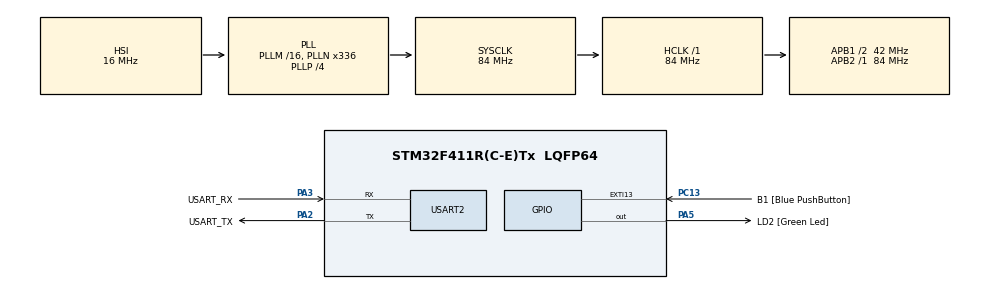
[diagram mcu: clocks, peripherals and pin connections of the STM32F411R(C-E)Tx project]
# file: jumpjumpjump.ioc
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Mcu.Family=STM32F4
Mcu.Name=STM32F411R(C-E)Tx
Mcu.Package=LQFP64
NVIC.PriorityGroup=NVIC_PRIORITYGROUP_1
NVIC.USART2_IRQn=true\:1\:0\:true\:false\:true\:true\:true
PA13.GPIO_Label=TMS
PA13.Mode=Serial_Wire
PA13.Signal=SYS_JTMS-SWDIO
PA14.GPIO_Label=TCK
PA14.Mode=Serial_Wire
PA14.Signal=SYS_JTCK-SWCLK
PA2.GPIO_Label=USART_TX
PA2.Mode=Asynchronous
PA2.Signal=USART2_TX
PA3.GPIO_Label=USART_RX
PA3.Mode=Asynchronous
PA3.Signal=USART2_RX
PA5.GPIO_Label=LD2 [Green Led]
PA5.Signal=GPIO_Output
PB3.GPIO_Label=SWO
PB3.Signal=SYS_JTDO-SWO
PC13-ANTI_TAMP.GPIO_Label=B1 [Blue PushButton]
PC13-ANTI_TAMP.GPIO_ModeDefaultEXTI=GPIO_MODE_IT_FALLING
PC13-ANTI_TAMP.Signal=GPXTI13
PC14-OSC32_IN.Mode=LSE-External-Oscillator
PC14-OSC32_IN.Signal=RCC_OSC32_IN
PC15-OSC32_OUT.Mode=LSE-External-Oscillator
PC15-OSC32_OUT.Signal=RCC_OSC32_OUT
PH0\ -\ OSC_IN.Mode=HSE-External-Clock-Source
PH0\ -\ OSC_IN.Signal=RCC_OSC_IN
PH1\ -\ OSC_OUT.Mode=HSE-External-Clock-Source
PH1\ -\ OSC_OUT.Signal=RCC_OSC_OUT
ProjectManager.HeapSize=0x200
ProjectManager.StackSize=0x400
ProjectManager.TargetToolchain=STM32CubeIDE
RCC.48MHZClocksFreq_Value=84000000
RCC.AHBFreq_Value=84000000
RCC.APB1CLKDivider=RCC_HCLK_DIV2
RCC.APB1Freq_Value=42000000
RCC.APB1TimFreq_Value=84000000
RCC.APB2Freq_Value=84000000
RCC.APB2TimFreq_Value=84000000
RCC.CortexFreq_Value=84000000
RCC.FLatency-AdvancedSettings=FLASH_LATENCY_2
RCC.HCLKFreq_Value=84000000
RCC.HSE_VALUE=8000000
RCC.HSI_VALUE=16000000
RCC.PLLN=336
RCC.PLLP=RCC_PLLP_DIV4
RCC.SYSCLKFreq_VALUE=84000000
RCC.SYSCLKSource=RCC_SYSCLKSOURCE_PLLCLK
RCC.VCOOutputFreq_Value=336000000
USART2.VirtualMode=VM_ASYNC
board=NUCLEO-F411RE

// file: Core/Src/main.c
/* USER CODE BEGIN Header */
/**
 ******************************************************************************
 * @file           : main.c
 * @brief          : Main program body
 ******************************************************************************
 * @attention
 *
 * <h2><center>&copy; Copyright (c) 2020 STMicroelectronics.
 * All rights reserved.</center></h2>
 *
 * This software component is licensed by ST under BSD 3-Clause license,
 * the "License"; You may not use this file except in compliance with the
 * License. You may obtain a copy of the License at:
 *                        opensource.org/licenses/BSD-3-Clause
 *
 ******************************************************************************
 */
/* USER CODE END Header */

#include "main.h"

UART_HandleTypeDef huart2;

/* USER CODE BEGIN PV */
char buffer;
int jump = 0;
int play = 0;
int gameover = 0;
int score = 0;
char charScore[];
int startscene = 1;
int speed;
int x20[3];
int x21[5];
int x22[7];
int x23[9];
int x24[11];

/* USER CODE END PV */

void SystemClock_Config(void);
static void MX_GPIO_Init(void);
static void MX_USART2_UART_Init(void);

/* USER CODE BEGIN 0 */
void resetPos() {
	x20[0] = 72;
	x20[1] = 73;
	x20[2] = 74;
	x21[0] = 71;
	x21[1] = 72;
	x21[2] = 73;
	x21[3] = 74;
	x21[4] = 75;
	x22[0] = 70;
	x22[1] = 71;
	x22[2] = 72;
	x22[3] = 73;
	x22[4] = 74;
	x22[5] = 75;
	x22[6] = 76;
	x23[0] = 69;
	x23[1] = 70;
	x23[2] = 71;
	x23[3] = 72;
	x23[4] = 73;
	x23[5] = 74;
	x23[6] = 75;
	x23[7] = 76;
	x23[8] = 77;
	x24[0] = 68;
	x24[1] = 69;
	x24[2] = 70;
	x24[3] = 71;
	x24[4] = 72;
	x24[5] = 73;
	x24[6] = 74;
	x24[7] = 75;
	x24[8] = 76;
	x24[9] = 77;
	x24[10] = 78;
}
void clear() {
	char clear[] = { 27, '[', 2, 'J', 27, '[', 'H' };
	HAL_UART_Transmit(&huart2, clear, sizeof(clear), HAL_MAX_DELAY);
}
void HAL_UART_TxCpltCallback(UART_HandleTypeDef *huart) {
}

void HAL_UART_RxCpltCallback(UART_HandleTypeDef *huart) {
	HAL_Delay(100);
	if (startscene && buffer == 'p') {
		jump = 0;
		play = 1;
		score = 0;
		gameover = 0;
		startscene = 0;
		resetPos();
	} else if (play && !gameover && buffer == ' ') {
		jump = 1;
	} else if (gameover && buffer == 'y') {
		gameover = 0;
		score = 0;
		play = 1;
		resetPos();
	} else if (gameover && buffer == 'n') {
		startscene = 1;
	} else if (!gameover && play && buffer == 'p') {
		play = 0;
	} else if (!gameover && play == 0 && buffer == 'p') {
		play = 1;
	}
	HAL_UART_Receive_IT(&huart2, &buffer, 1);
}
/* USER CODE END 0 */

int main(void) {

	/* MCU Configuration--------------------------------------------------------*/

	/* Reset of all peripherals, Initializes the Flash interface and the Systick. */
	HAL_Init();

	/* Configure the system clock */
	SystemClock_Config();

	/* Initialize all configured peripherals */
	MX_GPIO_Init();
	MX_USART2_UART_Init();
	/* USER CODE BEGIN 2 */
	HAL_UART_Receive_IT(&huart2, &buffer, 1);

	void rock() {
		speed = score + 10;
		if (speed > 15)
			speed = 15;
		for (int i = 0; i < 3; i++) {
			x20[i] -= speed;
			if (x20[i] <= 0)
				x20[i] += 78;
		}
		for (int i = 0; i < 5; i++) {
			x21[i] -= speed;
			if (x21[i] <= 0)
				x21[i] += 78;
		}
		for (int i = 0; i < 7; i++) {
			x22[i] -= speed;
			if (x22[i] <= 0)
				x22[i] += 78;
		}
		for (int i = 0; i < 9; i++) {
			x23[i] -= speed;
			if (x23[i] <= 0)
				x23[i] += 78;
		}
		for (int i = 0; i < 11; i++) {
			x24[i] -= speed;
			if (x24[i] <= 0) {
				x24[i] += 78;
			}

		}
	}
	void startScene() {
		for (int i = 0; i < 25; i++) {
			for (int j = 0; j < 80; j++) {
				if (i == 6 || i == 8) {
					if (j == 0)
						HAL_UART_Transmit(&huart2,
								"+                              ##################                              +",
								80, HAL_MAX_DELAY);
				} else if (i == 7) {
					if (j == 0)
						HAL_UART_Transmit(&huart2,
								"+                              # JUMP JUMP JUMP #                              +",
								80, HAL_MAX_DELAY);
				} else if (i == 9) {
					if (j == 0)
						HAL_UART_Transmit(&huart2,
								"+                          Press 'P' to Play or Pause                          +",
								80, HAL_MAX_DELAY);
				} else if (i == 10) {
					if (j == 0)
						HAL_UART_Transmit(&huart2,
								"+                           Press Space Bar to Jump!                           +",
								80, HAL_MAX_DELAY);
				} else if (j == 0 || j == 79 || i == 0 || i == 24)
					HAL_UART_Transmit(&huart2, "+", 1, HAL_MAX_DELAY);
				else
					HAL_UART_Transmit(&huart2, " ", 1, HAL_MAX_DELAY);
			}
		}
	}

	void gameOver() {
		for (int i = 0; i < 25; i++) {
			for (int j = 0; j < 80; j++) {
				if (i == 6 || i == 8) {
					if (j == 0)
						HAL_UART_Transmit(&huart2,
								"+                                xxxxxxxxxxxxxx                                +",
								80, HAL_MAX_DELAY);
				} else if (i == 7) {
					if (j == 0)
						HAL_UART_Transmit(&huart2,
								"+                                x GAME  OVER x                                +",
								80, HAL_MAX_DELAY);
				} else if (i == 9) {
					if (j == 0) {
						HAL_UART_Transmit(&huart2,
								"+                                   SCORE: ",
								43,
								HAL_MAX_DELAY);
						sprintf(charScore, "%d", score);
						HAL_UART_Transmit(&huart2, (uint8_t*) charScore,
								strlen(charScore), HAL_MAX_DELAY);
						int x;
						if (score < 10)
							x = 1;
						else if (score < 100)
							x = 2;
						else
							x = 3;
						for (int k = 0; k <= (35 - x); k++) {
							HAL_UART_Transmit(&huart2, " ", 1, HAL_MAX_DELAY);
						}
						HAL_UART_Transmit(&huart2, "+", 1, HAL_MAX_DELAY);
					}
				} else if (i == 10) {
					if (j == 0)
						HAL_UART_Transmit(&huart2,
								"+                               PLAY AGAIN? (y/n)                              +",
								80, HAL_MAX_DELAY);
				} else if (j == 0 || j == 79 || i == 0 || i == 24)
					HAL_UART_Transmit(&huart2, "+", 1, HAL_MAX_DELAY);
				else
					HAL_UART_Transmit(&huart2, " ", 1, HAL_MAX_DELAY);
			}
		}
	}

	void screen(int y1, int y2, int y3) {
		for (int i = 0; i < 24; i++) {
			for (int j = 0; j < 80; j++) {
				if (j == 0 || j == 79 || i == 0 || i == 23) {
					HAL_UART_Transmit(&huart2, "+", 1, HAL_MAX_DELAY);
				} else if ((i == 19
						&& (j == x20[0] || j == x20[1] || j == x20[2]))
						|| (i == 21
								&& (j == x21[0] || j == x21[1] || j == x21[2]
										|| j == x21[3] || j == x21[4]))
						|| (i == 20
								&& (j == x22[0] || j == x22[1] || j == x22[2]
										|| j == x22[3] || j == x22[4]
										|| j == x22[5] || j == x22[6]))
						|| (i == 21
								&& (j == x23[0] || j == x23[1] || j == x23[2]
										|| j == x23[3] || j == x23[4]
										|| j == x23[5] || j == x23[6]
										|| j == x23[7] || j == x23[8]))
						|| (i == 22
								&& (j == x24[0] || j == x24[1] || j == x24[2]
										|| j == x24[3] || j == x24[4]
										|| j == x24[5] || j == x24[6]
										|| j == x24[7] || j == x24[8]
										|| j == x24[9] || j == x24[10]))) {
					HAL_UART_Transmit(&huart2, " ", 1, HAL_MAX_DELAY);
				} else if ((i == y1 && (j == 4 || j == 7))
						|| (i == y2 && (j == 3 || j == 5 || j == 6 || j == 8))
						|| (i == y3 && (j >= 3 && j <= 8))) {
					HAL_UART_Transmit(&huart2, " ", 1, HAL_MAX_DELAY);
				} else
					HAL_UART_Transmit(&huart2, ".", 1, HAL_MAX_DELAY);

				if (jump == 0 && i == 22 && (x24[10] >= 3 && x24[10] <= 18)) {
					gameover = 1;
				}
			}
		}
		HAL_UART_Transmit(&huart2, "score:", 6, HAL_MAX_DELAY);
		sprintf(charScore, "%d", score);
		HAL_UART_Transmit(&huart2, (uint8_t*) charScore, strlen(charScore),
		HAL_MAX_DELAY);
	}
	/* USER CODE END 2 */

	/* Infinite loop */
	/* USER CODE BEGIN WHILE */
	int cnt = 0;
	clear();
	while (1) {
		if (startscene) {
			startScene();
			clear();
		} else if (!gameover && play) {
			int y1, y2, y3;
			if (jump) {
				y1 = 13;
				y2 = 14;
				y3 = 15;
				cnt++;
			} else {
				y1 = 20;
				y2 = 21;
				y3 = 22;
			}
			rock();
			screen(y1, y2, y3);
			clear();
			if (cnt == 2) {
				cnt = 0;
				jump = 0;
				score += 1;
			}
		} else if (gameover) {
			gameOver();
			clear();
		}
		/* USER CODE END WHILE */

	}
}

void SystemClock_Config(void) {
	RCC_OscInitTypeDef RCC_OscInitStruct = { 0 };
	RCC_ClkInitTypeDef RCC_ClkInitStruct = { 0 };

	/** Configure the main internal regulator output voltage
	 */
	__HAL_RCC_PWR_CLK_ENABLE();
	__HAL_PWR_VOLTAGESCALING_CONFIG(PWR_REGULATOR_VOLTAGE_SCALE1);
	/** Initializes the CPU, AHB and APB busses clocks
	 */
	RCC_OscInitStruct.OscillatorType = RCC_OSCILLATORTYPE_HSI;
	RCC_OscInitStruct.HSIState = RCC_HSI_ON;
	RCC_OscInitStruct.HSICalibrationValue = RCC_HSICALIBRATION_DEFAULT;
	RCC_OscInitStruct.PLL.PLLState = RCC_PLL_ON;
	RCC_OscInitStruct.PLL.PLLSource = RCC_PLLSOURCE_HSI;
	RCC_OscInitStruct.PLL.PLLM = 16;
	RCC_OscInitStruct.PLL.PLLN = 336;
	RCC_OscInitStruct.PLL.PLLP = RCC_PLLP_DIV4;
	RCC_OscInitStruct.PLL.PLLQ = 4;
	if (HAL_RCC_OscConfig(&RCC_OscInitStruct) != HAL_OK) {
		Error_Handler();
	}
	/** Initializes the CPU, AHB and APB busses clocks
	 */
	RCC_ClkInitStruct.ClockType = RCC_CLOCKTYPE_HCLK | RCC_CLOCKTYPE_SYSCLK
			| RCC_CLOCKTYPE_PCLK1 | RCC_CLOCKTYPE_PCLK2;
	RCC_ClkInitStruct.SYSCLKSource = RCC_SYSCLKSOURCE_PLLCLK;
	RCC_ClkInitStruct.AHBCLKDivider = RCC_SYSCLK_DIV1;
	RCC_ClkInitStruct.APB1CLKDivider = RCC_HCLK_DIV2;
	RCC_ClkInitStruct.APB2CLKDivider = RCC_HCLK_DIV1;

	if (HAL_RCC_ClockConfig(&RCC_ClkInitStruct, FLASH_LATENCY_2) != HAL_OK) {
		Error_Handler();
	}
}

static void MX_USART2_UART_Init(void) {

	huart2.Instance = USART2;
	huart2.Init.BaudRate = 115200;
	huart2.Init.WordLength = UART_WORDLENGTH_8B;
	huart2.Init.StopBits = UART_STOPBITS_1;
	huart2.Init.Parity = UART_PARITY_NONE;
	huart2.Init.Mode = UART_MODE_TX_RX;
	huart2.Init.HwFlowCtl = UART_HWCONTROL_NONE;
	huart2.Init.OverSampling = UART_OVERSAMPLING_16;
	if (HAL_UART_Init(&huart2) != HAL_OK) {
		Error_Handler();
	}

}

static void MX_GPIO_Init(void) {
	GPIO_InitTypeDef GPIO_InitStruct = { 0 };

	/* GPIO Ports Clock Enable */
	__HAL_RCC_GPIOC_CLK_ENABLE();
	__HAL_RCC_GPIOH_CLK_ENABLE();
	__HAL_RCC_GPIOA_CLK_ENABLE();
	__HAL_RCC_GPIOB_CLK_ENABLE();

	/*Configure GPIO pin Output Level */
	HAL_GPIO_WritePin(LD2_GPIO_Port, LD2_Pin, GPIO_PIN_RESET);

	/*Configure GPIO pin : B1_Pin */
	GPIO_InitStruct.Pin = B1_Pin;
	GPIO_InitStruct.Mode = GPIO_MODE_IT_FALLING;
	GPIO_InitStruct.Pull = GPIO_NOPULL;
	HAL_GPIO_Init(B1_GPIO_Port, &GPIO_InitStruct);

	/*Configure GPIO pin : LD2_Pin */
	GPIO_InitStruct.Pin = LD2_Pin;
	GPIO_InitStruct.Mode = GPIO_MODE_OUTPUT_PP;
	GPIO_InitStruct.Pull = GPIO_NOPULL;
	GPIO_InitStruct.Speed = GPIO_SPEED_FREQ_LOW;
	HAL_GPIO_Init(LD2_GPIO_Port, &GPIO_InitStruct);

}

void Error_Handler(void) {
}

/************************ (C) COPYRIGHT STMicroelectronics *****END OF FILE****/
